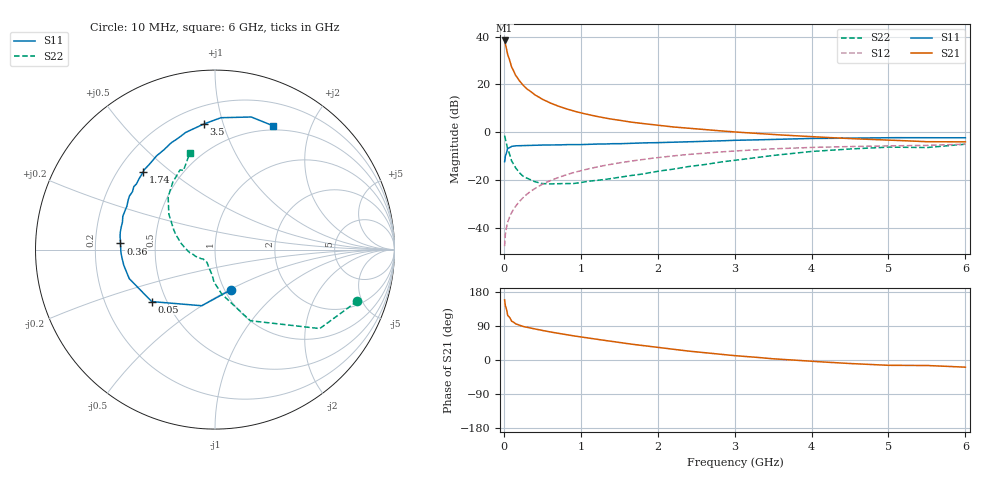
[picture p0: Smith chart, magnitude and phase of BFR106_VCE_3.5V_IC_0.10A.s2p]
! Infineon Technologies  Discrete & RF Semiconductors
! BFR106
! VCE =  3.5 V,  IC = 0.10 A
! Common Emitter S-Parameters:  Nov 2015
# GHz  S  MA  R  50
!  f  S11  S21  S12  S22
! GHz  MAG  ANG  MAG  ANG  MAG  ANG  MAG  ANG
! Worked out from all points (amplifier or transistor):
!   210 points, 10 MHz to 6 GHz, reference 50 ohm
!   highest |S21| = 38.3 dB at 10 MHz (marker M1)
!   |S21| within 3 dB of that: start of sweep to 31.11 MHz
!   unconditionally stable (mu >= 1): 152.4 MHz to 2.693 GHz; 5.271 GHz to end of sweep
!   at 185 MHz: K = 1.03, MAG = 25.0 dB, |S12| = -29.7 dB
!   at 1.52 GHz: K = 1.07, MAG = 7.2 dB, |S12| = -12.8 dB
!   at 6 GHz: K = 1.01, MAG = 0.0 dB, |S12| = -5.1 dB
!   S11 on the Smith chart (normalised r, x): 10 MHz: 1.07, -0.51; 50 MHz: 0.41, -0.30; 360 MHz: 0.31, +0.03; 1.74 GHz: 0.30, +0.40; 3.5 GHz: 0.31, +0.86; 6 GHz: 0.45, +1.47
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0.01  0.2411 -68.3  82.65 158.8  0.0041 76.9  0.8433 -19.9
0.02  0.3214 -103.3  70.21 142.8  0.0073 70.4  0.7311 -37.0
0.05  0.4562 -140.6  41.66 117.5  0.013 59.7  0.4424 -63.6
0.1  0.5044 -161.3  23.09 102.7  0.0205 65.6  0.251 -81.3
0.15  0.5157 -170.3  15.72 95.8  0.0276 69.1  0.1805 -91.8
0.2  0.5197 -174.4  11.96 91.7  0.0347 71.8  0.1428 -96.4
0.24  0.5235 -177.5  10.04 89.2  0.0409 72.4  0.1233 -101.6
0.3  0.5249 179.1  8.007 86.1  0.0501 73.9  0.1085 -107.8
0.36  0.5278 176.3  6.836 83.9  0.0592 74.1  0.0983 -112.4
0.4  0.5305 174.4  6.063 82.0  0.0652 74.2  0.0919 -116.1
0.5  0.5364 170.5  4.868 78.0  0.0807 73.7  0.0837 -122.4
0.6  0.5375 167.3  4.084 74.1  0.0958 72.6  0.0823 -126.9
0.8  0.5462 160.1  3.106 67.2  0.1261 70.3  0.0838 -137.4
1.02  0.5487 153.2  2.481 60.3  0.1583 67.3  0.089 -144.3
1.3  0.5616 145.0  1.99 51.9  0.1992 63.1  0.1011 -154.7
1.74  0.5887 133.0  1.554 39.8  0.2585 56.1  0.1282 -169.1
2.02  0.6028 126.2  1.377 32.8  0.2947 51.5  0.1528 -177.8
3.1  0.6773 102.3  0.982 10.0  0.4105 33.9  0.2684 151.4
3.5  0.7021 95.2  0.89 3.2  0.4462 27.9  0.3241 142.5
4.1  0.7371 86.0  0.786 -4.6  0.4811 18.9  0.4021 129.5
5.1  0.7644 73.6  0.67 -14.1  0.5181 6.6  0.4828 113.3
6  0.7613 65.0  0.625 -18.9  0.5582 -2.8  0.5583 104.5
